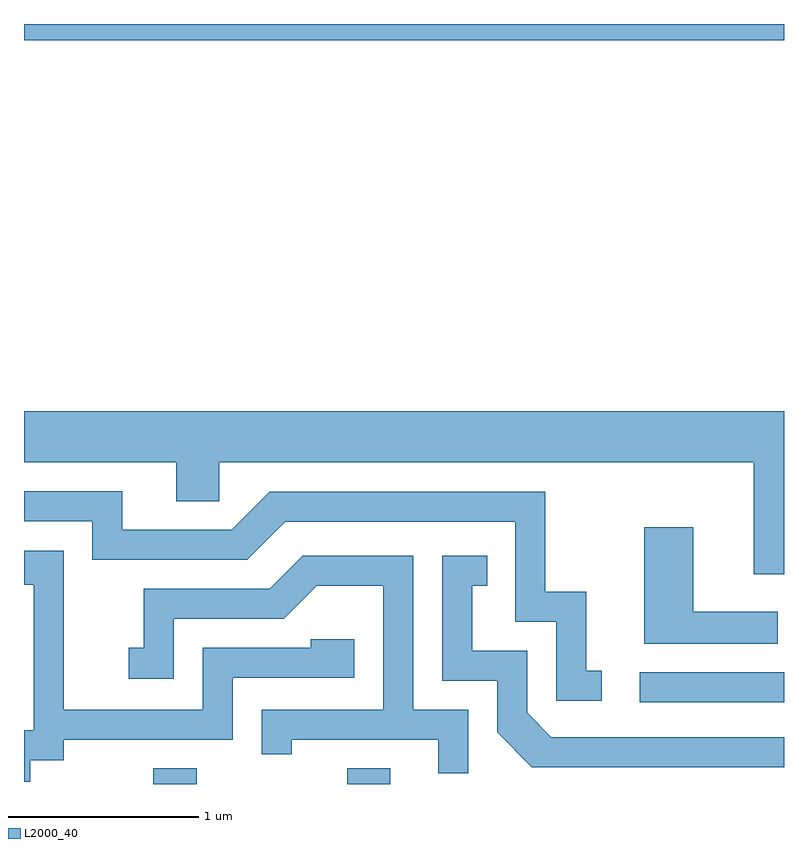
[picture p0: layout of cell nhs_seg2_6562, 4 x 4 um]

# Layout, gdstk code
import gdstk
lib = gdstk.Library(unit=1e-6, precision=1e-09)
def R(c, l, rs):  # rectangles x0, y0, x1, y1
    for r in rs: c.add(gdstk.rectangle(r[:2], r[2:], *l))
def P(c, l, *ps):  # polygons
    for p in ps: c.add(gdstk.Polygon(p, *l))
L2000_40 = (2000, 40)

nhs_seg2_6562 = lib.new_cell('nhs_seg2_6562')
R(nhs_seg2_6562, L2000_40, [(380.291,977.802,380.519,977.884), (381.311,977.802,381.539,977.884), (382.853,978.231,383.611,978.389), (379.611,981.716,383.611,981.802)])
P(nhs_seg2_6562, L2000_40, [(383.611,979.764),(379.611,979.764),(379.611,979.496),(380.411,979.496),(380.411,979.291),(380.639,979.291),(380.639,979.496),(383.451,979.496),(383.451,978.906),(383.611,978.906)],
  [(382.653,978.399),(382.569,978.399),(382.569,978.814),(382.354,978.814),(382.354,979.339),(380.904,979.339),(380.704,979.139),(380.129,979.139),(380.129,979.344),(379.611,979.344),(379.611,979.186),(379.971,979.186),(379.971,978.981),(380.787,978.981),(380.987,979.181),(382.196,979.181),(382.196,978.656),(382.411,978.656),(382.411,978.241),(382.653,978.241)],
  [(383.578,978.709),(383.134,978.709),(383.134,979.154),(382.876,979.154),(382.876,978.541),(383.578,978.541)],
  [(379.644,977.926),(379.819,977.926),(379.819,978.036),(380.709,978.036),(380.709,978.361),(381.349,978.361),(381.349,978.564),(381.121,978.564),(381.121,978.519),(380.551,978.519),(380.551,978.194),(379.819,978.194),(379.819,979.029),(379.611,979.029),(379.611,978.851),(379.661,978.851),(379.661,978.084),(379.611,978.084),(379.611,977.813),(379.644,977.813)],
  [(383.611,978.049),(382.387,978.049),(382.259,978.177),(382.259,978.504),(381.969,978.504),(381.969,978.846),(382.048,978.846),(382.048,979.004),(381.811,979.004),(381.811,978.346),(382.101,978.346),(382.101,978.074),(382.284,977.891),(383.611,977.891)],
  [(381.949,978.194),(381.659,978.194),(381.659,979.004),(381.079,979.004),(380.904,978.829),(380.241,978.829),(380.241,978.519),(380.163,978.519),(380.163,978.356),(380.399,978.356),(380.399,978.671),(380.977,978.671),(381.152,978.846),(381.501,978.846),(381.501,978.194),(380.861,978.194),(380.861,977.958),(381.019,977.958),(381.019,978.036),(381.791,978.036),(381.791,977.858),(381.949,977.858)])

lib.write_gds('nhs_seg2_6562.gds')
